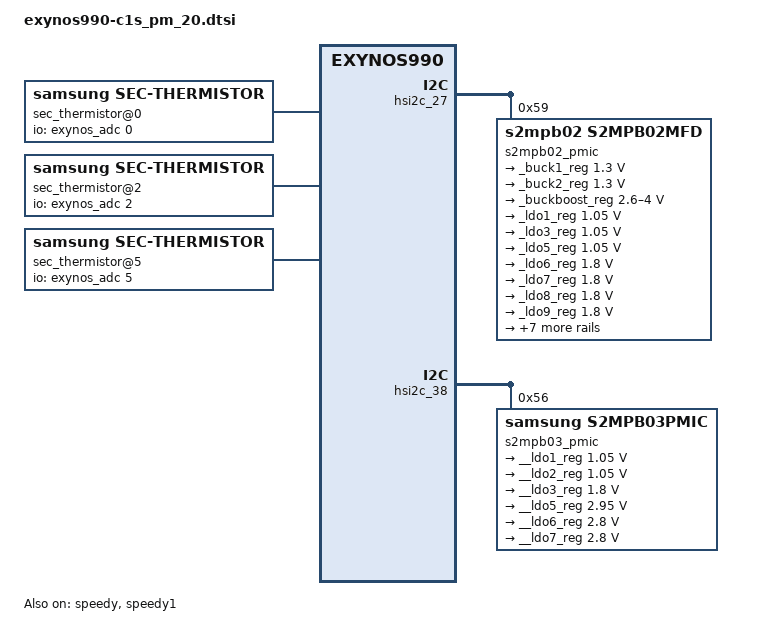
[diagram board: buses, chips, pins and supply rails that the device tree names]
/*
 * SAMSUNG EXYNOS9830 power management device tree source
 *
 * Copyright (c) 2019 Samsung Electronics Co., Ltd.
 *		http://www.samsung.com
 *
 * This program is free software; you can redistribute it and/or modify
 * it under the terms of the GNU General Public License version 2 as
 * published by the Free Software Foundation.
*/

&pinctrl_0 {
	m_pmic_irq: m-pmic-irq {
		samsung,pins = "gpa0-1";
		samsung,pin-pud = <3>;
		samsung,pin-drv = <3>;
	};

	s_pmic_irq: s-pmic-irq {
		samsung,pins = "gpa2-5";
		samsung,pin-pud = <3>;
		samsung,pin-drv = <3>;
	};

	dp_pmic_irq: dp-pmic-irq {
		samsung,pins = "gpa1-4";
		samsung,pin-function = <0>;
		samsung,pin-pud = <0>;
		samsung,pin-drv = <0>;
	};
};

&pinctrl_5 {
	sub_pmic_irq: sub-pmic-irq {
		samsung,pins = "gpg1-2";
		samsung,pin-function = <0>;
		samsung,pin-pud = <0>;
		samsung,pin-con-pdn = <2>;
		samsung,pin-pud-pdn = <0>;
	};
};

&pinctrl_4 {
	smpl_warn: smpl-warn {
		samsung,pins = "gpg0-1";
		samsung,pin-function = <15>;
		samsung,pin-pud = <0>;
		samsung,pin-drv = <0>;
		samsung,pin-con-pdn = <2>;
		samsung,pin-pud-pdn = <0>;
	};
};

&speedy {
	#address-cells = <1>;
	#size-cells = <0>;
	status = "okay";
	s2mps19mfd@00 {
		compatible = "samsung,s2mps19mfd";
		acpm-ipc-channel = <2>;
		acpm-speedy-channel = <0>;
		i2c-speedy-address;
		s2mps19,wakeup = "enabled";
		s2mps19,irq-gpio = <&gpa0 1 0>;
		reg = <0x00>;
		interrupts = <1 0 0>;
		interrupt-parent = <&gpa0>;
		pinctrl-names = "default";
		pinctrl-0 = <&m_pmic_irq &smpl_warn>;
		gpios = <&gpg0 1 0>;
		smpl_warn_en = <1>; /* 1 : enable , 0 : disable */
		/* range of smpl_warn_vth */
		/* 0x00 : 2.1V, 0x20 : 2.3V, 0x40 : 2.5V, 0x60 : 2.7V 0x80 : 2.9V */
		/* 0xA0 : 3.1V, 0xC0 : 3.3V, 0xE0 : 3.5V */
		smpl_warn_vth = <0xA0>;
		/* LowBat_Hys[4:3] 00(100mV), 01(200mV), 10(300mV), 11(400mV) */
		smpl_warn_hys = <0x00>;
		ocp_warn1_en = <1>; /* 1 : enable, 0 : disable */
		ocp_warn1_cnt = <0>; /* ocp warn reset timing control, 0 : 2 clock, 1 : 32 clock */
		ocp_warn1_dvs_mask = <0>; /* ocp warn mask when dvs, 0 : not masked, 1 : masked  */
		ocp_warn1_lv = <0x0>; /* step : -250mA */
		ocp_warn2_en = <0>; /* 1 : enable, 0 : disable */
		ocp_warn2_cnt = <0>; /* ocp warn reset timing control, 0 : 2 clock, 1 : 32 clock */
		ocp_warn2_dvs_mask = <0>; /* ocp warn mask when dvs, 0 : not masked, 1 : masked  */
		ocp_warn2_lv = <0x0>; /* step : -250mA */
		adc_mode = <1>; /* 0 : disable, 1 : current meter, 2 : power meter */
		adc_sync_mode = <2>; /* 1 : sync mode, 2 : async mode */
		/* RTC: wtsr/smpl */
		wtsr_en = "enabled"; /* enable */
		smpl_en = "enabled"; /* enable */
		wtsr_timer_val = <3>;	/* 1000ms */
		smpl_timer_val = <2>;	/* 300ms */
		sub_smpl_en = "enabled"; /* enable */
		check_jigon = <0>; /* do not check jigon */
		/* RTC: If it's first boot, reset rtc to 1/1/2020 12:00:00(Wed) */
		init_time,sec = <0>;
		init_time,min = <0>;
		init_time,hour = <12>;
		init_time,mday = <1>;
		init_time,mon = <0>;
		init_time,year = <120>;
		init_time,wday = <3>;

		regulators {
			buck1_reg: BUCK1M {
				regulator-name = "m_vdd_buck1";
				regulator-min-microvolt = <450000>;
				regulator-max-microvolt = <1100000>;
				regulator-always-on;
				regulator-ramp-delay = <6000>;
				regulator-initial-mode = <2>;
			};

			buck2_reg: BUCK2M {
				regulator-name = "m_vdd_buck2";
				regulator-min-microvolt = <450000>;
				regulator-max-microvolt = <1300000>;
				regulator-always-on;
				regulator-ramp-delay = <6000>;
				regulator-initial-mode = <2>;
			};

			buck3_reg: BUCK3M {
				regulator-name = "m_vdd_buck3";
				regulator-min-microvolt = <450000>;
				regulator-max-microvolt = <1300000>;
				regulator-always-on;
				regulator-ramp-delay = <6000>;
				regulator-initial-mode = <2>;
			};

			buck5_reg: BUCK5M {
				regulator-name = "m_vdd_buck5";
				regulator-min-microvolt = <450000>;
				regulator-max-microvolt = <1100000>;
				regulator-always-on;
				regulator-ramp-delay = <6000>;
				regulator-initial-mode = <2>;
			};

			buck6_reg: BUCK6M {
				regulator-name = "m_vdd_buck6";
				regulator-min-microvolt = <450000>;
				regulator-max-microvolt = <1100000>;
				regulator-always-on;
				regulator-ramp-delay = <6000>;
				regulator-initial-mode = <1>;
			};

			buck7_reg: BUCK7M {
				regulator-name = "m_vdd_buck7";
				regulator-min-microvolt = <450000>;
				regulator-max-microvolt = <1300000>;
				regulator-always-on;
				regulator-ramp-delay = <6000>;
				regulator-initial-mode = <2>;
			};

			buck8_reg: BUCK8M {
				regulator-name = "m_vdd_buck8";
				regulator-min-microvolt = <450000>;
				regulator-max-microvolt = <950000>;
				regulator-always-on;
				regulator-ramp-delay = <6000>;
				regulator-initial-mode = <2>;
			};

			buck9_reg: BUCK9M {
				regulator-name = "m_vdd_buck9";
				regulator-min-microvolt = <800000>;
				regulator-max-microvolt = <1300000>;
				regulator-always-on;
				regulator-ramp-delay = <6000>;
				regulator-initial-mode = <3>;
			};

			buck10_reg: BUCK10M {
				regulator-name = "m_vdd_buck10";
				regulator-min-microvolt = <800000>;
				regulator-max-microvolt = <1300000>;
				regulator-always-on;
				regulator-ramp-delay = <6000>;
				regulator-initial-mode = <3>;
			};

			buck11_reg: BUCK11M {
				regulator-name = "m_vdd_buck11";
				regulator-min-microvolt = <1100000>;
				regulator-max-microvolt = <1500000>;
				regulator-always-on;
				regulator-ramp-delay = <6000>;
				regulator-initial-mode = <3>;
			};

			buck12_reg: BUCK12M {
				regulator-name = "m_vdd_buck12";
				regulator-min-microvolt = <1750000>;
				regulator-max-microvolt = <2150000>;
				regulator-always-on;
				regulator-ramp-delay = <6000>;
				regulator-initial-mode = <3>;
			};

			ldo1_reg: LDO1M {
				regulator-name = "m_vdd_ldo1";
				regulator-min-microvolt = <700000>;
				regulator-max-microvolt = <950000>;
				regulator-always-on;
				regulator-ramp-delay = <12000>;
				regulator-initial-mode = <3>;
			};

			ldo3_reg: LDO3M {
				regulator-name = "m_vdd_ldo3";
				regulator-min-microvolt = <700000>;
				regulator-max-microvolt = <1100000>;
				regulator-always-on;
				regulator-ramp-delay = <12000>;
				regulator-initial-mode = <1>;
			};

			ldo4_reg: LDO4M {
				regulator-name = "m_vdd_ldo4";
				regulator-min-microvolt = <1600000>;
				regulator-max-microvolt = <1950000>;
				regulator-always-on;
				regulator-ramp-delay = <12000>;
				regulator-initial-mode = <1>;
			};

			ldo5_reg: LDO5M {
				regulator-name = "m_vdd_ldo5";
				regulator-min-microvolt = <450000>;
				regulator-max-microvolt = <1100000>;
				regulator-always-on;
				regulator-ramp-delay = <12000>;
				regulator-initial-mode = <1>;
			};

			ldo6_reg: LDO6M {
				regulator-name = "m_vdd_ldo6";
				regulator-min-microvolt = <450000>;
				regulator-max-microvolt = <950000>;
				regulator-always-on;
				regulator-ramp-delay = <12000>;
				regulator-initial-mode = <1>;
			};

			ldo9_reg: LDO9M {
				regulator-name = "m_vdd_ldo9";
				regulator-min-microvolt = <700000>;
				regulator-max-microvolt = <1300000>;
				regulator-always-on;
				regulator-ramp-delay = <12000>;
				regulator-initial-mode = <1>;
			};

			ldo10_reg: LDO10M {
				regulator-name = "m_vdd_ldo10";
				regulator-min-microvolt = <700000>;
				regulator-max-microvolt = <1100000>;
				regulator-boot-on;
				regulator-ramp-delay = <12000>;
				regulator-initial-mode = <3>;
			};

			ldo11_reg: LDO11M {
				regulator-name = "m_vdd_ldo11";
				regulator-min-microvolt = <1600000>;
				regulator-max-microvolt = <1950000>;
				regulator-boot-on;
				regulator-ramp-delay = <12000>;
				regulator-initial-mode = <3>;
			};

			ldo12_reg: LDO12M {
				regulator-name = "m_vdd_ldo12";
				regulator-min-microvolt = <1700000>;
				regulator-max-microvolt = <3350000>;
				regulator-boot-on;
				regulator-ramp-delay = <12000>;
				regulator-initial-mode = <3>;
			};

			ldo13_reg: LDO13M {
				regulator-name = "m_vdd_ldo13";
				regulator-min-microvolt = <1800000>;
				regulator-max-microvolt = <3350000>;
				regulator-boot-on;
				regulator-ramp-delay = <12000>;
				regulator-initial-mode = <3>;
			};

			ldo14_reg: LDO14M {
				regulator-name = "m_vdd_ldo14";
				regulator-min-microvolt = <1800000>;
				regulator-max-microvolt = <3350000>;
				regulator-boot-on;
				regulator-ramp-delay = <12000>;
				regulator-initial-mode = <3>;
			};

			ldo16_reg: LDO16M {
				regulator-name = "m_vdd_ldo16";
				regulator-min-microvolt = <2500000>;
				regulator-max-microvolt = <3300000>;
				regulator-always-on;
				regulator-ramp-delay = <12000>;
				regulator-initial-mode = <3>;
			};

			ldo17_reg: dp_buck: LDO17M {
				regulator-name = "VDD_DDR_1P6";
				regulator-min-microvolt = <1600000>;
				regulator-max-microvolt = <1600000>;
				regulator-boot-on;
				regulator-ramp-delay = <12000>;
				regulator-initial-mode = <3>;
			};

			ldo18_reg: LDO18M {
				regulator-name = "m_vdd_ldo18";
				regulator-min-microvolt = <700000>;
				regulator-max-microvolt = <1300000>;
				regulator-ramp-delay = <12000>;
				regulator-initial-mode = <2>;
			};

			ldo19_reg: LDO19M {
				regulator-name = "VDD_BTP_1P8";
				regulator-min-microvolt = <1800000>;
				regulator-max-microvolt = <1800000>;
				regulator-ramp-delay = <12000>;
				regulator-initial-mode = <2>;
			};
			
			ldo20_reg: dp_ldo4: LDO20M {
				regulator-name = "VDD_DDI_3P0";
				regulator-min-microvolt = <3000000>;
				regulator-max-microvolt = <3000000>;
				regulator-boot-on;
				regulator-ramp-delay = <12000>;
				regulator-initial-mode = <3>;
			};

			ldo21_reg: LDO21M {
				regulator-name = "vdd_mcu_1p8";
				regulator-min-microvolt = <1800000>;
				regulator-max-microvolt = <1800000>;
				regulator-ramp-delay = <12000>;
				regulator-initial-mode = <3>;
			};

			ldo22_reg: LDO22M {
				regulator-name = "VDD_NFC_1P8";
				regulator-min-microvolt = <1800000>;
				regulator-max-microvolt = <1800000>;
				regulator-ramp-delay = <12000>;
				regulator-initial-mode = <3>;
			};

			ldo24_reg: LDO24M {
				regulator-name = "VDD_GRIP_3P3";
				regulator-min-microvolt = <3300000>;
				regulator-max-microvolt = <3300000>;
				regulator-ramp-delay = <12000>;
				regulator-always-on;
				regulator-initial-mode = <3>;
				regulator-boot-on;
			};

			ldo25_reg: LDO25M {
				regulator-name = "tsp_io";
				regulator-min-microvolt = <1800000>;
				regulator-max-microvolt = <1800000>;
				regulator-ramp-delay = <12000>;
				regulator-initial-mode = <3>;
			};

			ldo26_reg: LDO26M {
				regulator-name = "VDD_FLICKER_1P8";
				regulator-min-microvolt = <1800000>;
				regulator-max-microvolt = <1800000>;
				regulator-ramp-delay = <12000>;
				regulator-initial-mode = <3>;
			};

			ldo28_reg: LDO28M {
				regulator-name = "m_vdd_ldo28";
				regulator-min-microvolt = <1800000>;
				regulator-max-microvolt = <1800000>;
				regulator-ramp-delay = <12000>;
				regulator-initial-mode = <3>;
			};

			ldo29_reg: LDO29M {
				regulator-name = "tsp_avdd";
				regulator-min-microvolt = <3000000>;
				regulator-max-microvolt = <3000000>;
				regulator-ramp-delay = <12000>;
				regulator-initial-mode = <3>;
			};
		};
	};
};

&speedy1 {
	#address-cells = <1>;
	#size-cells = <0>;
	status = "okay";
	s2mps22mfd@00 {
		compatible = "samsung,s2mps22mfd";
		acpm-ipc-channel = <2>;
		acpm-speedy-channel = <1>;
		i2c-speedy-address;
		s2mps22,wakeup = "enabled";
		s2mps22,irq-gpio = <&gpa2 5 0>;
		reg = <0x00>;
		interrupts = <1 0 0>;
		interrupt-parent = <&gpa2>;
		pinctrl-names = "default";
		pinctrl-0 = <&s_pmic_irq>;
		adc_mode = <1>; /* 0 : disable, 1 : current meter, 2 : power meter */
		adc_sync_mode = <2>; /* 1 : sync mode, 2 : async mode */
		wtsr_en = <1>; /* 0 : disable, 1 : enable */

		regulators {
			s_buck1_reg: BUCK1S {
				regulator-name = "s_vdd_buck1";
				regulator-min-microvolt = <450000>;
				regulator-max-microvolt = <950000>;
				regulator-always-on;
				regulator-ramp-delay = <6000>;
				regulator-initial-mode = <1>;
			};

			s_buck2_reg: BUCK2S {
				regulator-name = "s_vdd_buck2";
				regulator-min-microvolt = <450000>;
				regulator-max-microvolt = <1100000>;
				regulator-always-on;
				regulator-ramp-delay = <6000>;
				regulator-initial-mode = <1>;
			};

			s_buck3_reg: BUCK3S {
				regulator-name = "s_vdd_buck3";
				regulator-min-microvolt = <450000>;
				regulator-max-microvolt = <1300000>;
				regulator-always-on;
				regulator-ramp-delay = <6000>;
				regulator-initial-mode = <1>;
			};

			s_buck4_reg: BUCK4S {
				regulator-name = "s_vdd_buck4";
				regulator-min-microvolt = <900000>;
				regulator-max-microvolt = <1300000>;
				regulator-always-on;
				regulator-ramp-delay = <6000>;
				regulator-initial-mode = <3>;
			};

			s_ldo1_reg: LDO1S {
				regulator-name = "s_vdd_ldo1";
				regulator-min-microvolt = <450000>;
				regulator-max-microvolt = <950000>;
				regulator-always-on;
				regulator-ramp-delay = <12000>;
				regulator-initial-mode = <1>;
			};

			s_ldo2_reg: LDO2S {
				regulator-name = "s_vdd_ldo2";
				regulator-min-microvolt = <450000>;
				regulator-max-microvolt = <950000>;
				regulator-always-on;
				regulator-ramp-delay = <12000>;
				regulator-initial-mode = <1>;
			};

			s_ldo3_reg: LDO3S {
				regulator-name = "s_vdd_ldo3";
				regulator-min-microvolt = <450000>;
				regulator-max-microvolt = <1300000>;
				regulator-always-on;
				regulator-ramp-delay = <12000>;
				regulator-initial-mode = <1>;
			};

			s_ldo4_reg: LDO4S {
				regulator-name = "s_vdd_ldo4";
				regulator-min-microvolt = <1600000>;
				regulator-max-microvolt = <1950000>;
				regulator-always-on;
				regulator-ramp-delay = <12000>;
				regulator-initial-mode = <3>;
			};

			s_ldo5_reg: LDO5S {
				regulator-name = "VDD_MIPI_CSI_0P85_AP";
				regulator-min-microvolt = <850000>;
				regulator-max-microvolt = <850000>;
				regulator-ramp-delay = <12000>;
				regulator-initial-mode = <1>;
			};

			s_ldo6_reg: LDO6S {
				regulator-name = "VDD_MIPI_CSI_1P8_AP";
				regulator-min-microvolt = <1800000>;
				regulator-max-microvolt = <1800000>;
				regulator-ramp-delay = <12000>;
				regulator-initial-mode = <1>;
			};
		};
	};
};

&hsi2c_27 {
	#address-cells = <1>;
	#size-cells = <0>;
	status = "okay";
	s2mpb02_pmic@59 {
		compatible = "s2mpb02,s2mpb02mfd";
		reg = <0x59>;

		s2mpb02,wakeup;
		pinctrl-names = "default";
		pinctrl-0 = <&sub_pmic_irq>;

		regulators {
			_buck1_reg: s2mpb02-buck1 {
				regulator-name = "S2MPB02_BUCK1";
				regulator-min-microvolt = <1300000>;
				regulator-max-microvolt = <1300000>;
			};

			_buck2_reg: s2mpb02-buck2 {
				regulator-name = "S2MPB02_BUCK2";
				regulator-min-microvolt = <1300000>;
				regulator-max-microvolt = <1300000>;
			};

			_buckboost_reg: s2mpb02-bb {
				regulator-name = "S2MPB02_BB";
				regulator-min-microvolt = <2600000>;
				regulator-max-microvolt = <4000000>;
				regulator-always-on;
				regulator-boot-on;
			};

			_ldo1_reg: s2mpb02-ldo1 {
				regulator-name = "VDDPHY_1.05V_CAM";
				regulator-min-microvolt = <1050000>;
				regulator-max-microvolt = <1050000>;
			};

			_ldo3_reg: s2mpb02-ldo3 {
				regulator-name = "VDDD_1.05V_WIDESUB";
				regulator-min-microvolt = <1050000>;
				regulator-max-microvolt = <1050000>;
			};

			_ldo5_reg: s2mpb02-ldo5 {
				regulator-name = "VDDD_1.05V_VT";
				regulator-min-microvolt = <1050000>;
				regulator-max-microvolt = <1050000>;
			};

			_ldo6_reg: s2mpb02-ldo6 {
				regulator-name = "VDDIO_1.8V_VT";
				regulator-min-microvolt = <1800000>;
				regulator-max-microvolt = <1800000>;
			};

			_ldo7_reg: s2mpb02-ldo7 {
				regulator-name = "VDDIO_1.8V_SUB";
				regulator-min-microvolt = <1800000>;
				regulator-max-microvolt = <1800000>;
			};

			_ldo8_reg: s2mpb02-ldo8 {
				regulator-name = "VDDIO_1.8V_WIDESUB";
				regulator-min-microvolt = <1800000>;
				regulator-max-microvolt = <1800000>;
			};

			_ldo9_reg: dp_ldo1: s2mpb02-ldo9 {
				regulator-name = "VDD_DDI_1P8";
				regulator-min-microvolt = <1800000>;
				regulator-max-microvolt = <1800000>;
				regulator-boot-on;
			};

			_ldo10_reg: s2mpb02-ldo10 {
				regulator-name = "VDDD_1.8V_OIS";
				regulator-min-microvolt = <1800000>;
				regulator-max-microvolt = <1800000>;
			};

			_ldo12_reg: s2mpb02-ldo12 {
				regulator-name = "VDDAF_2.8V_SUB";
				regulator-min-microvolt = <2800000>;
				regulator-max-microvolt = <2800000>;
			};

			_ldo13_reg: s2mpb02-ldo13 {
				regulator-name = "VDDA_2.8V_WIDESUB";
				regulator-min-microvolt = <2800000>;
				regulator-max-microvolt = <2800000>;
			};

			_ldo14_reg: s2mpb02-ldo14 {
				regulator-name = "VDDAF_COMMON_CAM";
				regulator-min-microvolt = <2800000>;
				regulator-max-microvolt = <2800000>;
			};

			_ldo15_reg: s2mpb02-ldo15 {
				regulator-name = "VDDA_2.95V_VT";
				regulator-min-microvolt = <2950000>;
				regulator-max-microvolt = <2950000>;
			};

			_ldo16_reg: s2mpb02-ldo16 {
				regulator-name = "VDDAF_2.8V_VT";
				regulator-min-microvolt = <2800000>;
				regulator-max-microvolt = <2800000>;
			};

			_ldo18_reg: s2mpb02-ldo18 {
				regulator-name = "S2MPB02_LDO18";
				regulator-min-microvolt = <3300000>;
				regulator-max-microvolt = <3300000>;
			};
		};

		torch {
			torch1-gpio = <&gpp4 4 0x1>;
			flash1-gpio = <&gpp4 0 0x1>;

			status = "okay";

			leds1 {
				ledname = "leds-sec1";
				id = <0>;
				brightness = <0xE>; /* adaptive Nx100+50 : 1450mA */
				timeout = <0x7>; /* (N+1)x62.5 : 500ms */
				torch_table_enable = <0>;
			};

			leds2 {
				ledname = "torch-sec1";
				id = <1>;
				brightness = <0xE>; /* Nx20 = 280mA */
				timeout = <0xF>;
				torch_table_enable = <1>;
				torch_table = <3 5 5 6 6 8 8 8 10 10>;
				/* 60mA 100mA 120mA 160mA 200mA */
			};
		};
	};
};

&hsi2c_4 {
	#address-cells = <1>;
	#size-cells = <0>;
	status = "disabled";
	s2dos05_pmic@60 {
		compatible = "samsung,s2dos05pmic";
		reg = <0x60>;
		s2dos05,wakeup;
		pinctrl-names = "default";
		pinctrl-0 = <&dp_pmic_irq>;
		s2dos05,s2dos05_int = <&gpa1 4 0>;
		adc_mode = <2>; /* 0 : disable, 1 : current meter, 2 : power meter */
		adc_sync_mode = <2>; /* 1 : sync mode, 2 : async mode */
		regulators {
			dp_ldo2: s2dos05-ldo2 {
				regulator-name = "vdd3";
				regulator-min-microvolt = <1800000>;
				regulator-max-microvolt = <1800000>;
				regulator-boot-on;
			};

			dp_ldo3: s2dos05-ldo3{
				regulator-name = "vdd4";
				regulator-min-microvolt = <3000000>;
				regulator-max-microvolt = <3000000>;
				regulator-boot-on;
			};

			dp_elvss: s2dos05-elvss{
				regulator-name = "elvss";
				regulator-min-microamp = <0>;
				regulator-max-microamp = <8000>;
			};
		};
	};
};

&hsi2c_38 {
	#address-cells = <1>;
	#size-cells = <0>;
	status = "okay";
	s2mpb03_pmic@56 {
		compatible = "samsung,s2mpb03pmic";
		reg = <0x56>;

		s2mpb03,wakeup;

		regulators {
			__ldo1_reg: s2mpb03-ldo1 {
				regulator-name = "VDDD_1.05V_SUB";
				regulator-min-microvolt = <1050000>;
				regulator-max-microvolt = <1050000>;
			};

			__ldo2_reg: s2mpb03-ldo2 {
				regulator-name = "VDDD_1.05V_CAM";
				regulator-min-microvolt = <1050000>;
				regulator-max-microvolt = <1050000>;
			};

			__ldo3_reg: s2mpb03-ldo3 {
				regulator-name = "VDDIO_1.8V_CAM";
				regulator-min-microvolt = <1800000>;
				regulator-max-microvolt = <1800000>;
			};

			__ldo5_reg: s2mpb03-ldo5 {
				regulator-name = "VDDA_2.8V_CAM";
				regulator-min-microvolt = <2950000>;
				regulator-max-microvolt = <2950000>;
			};

			__ldo6_reg: s2mpb03-ldo6 {
				regulator-name = "VDDA_2.8V_SUB";
				regulator-min-microvolt = <2800000>;
				regulator-max-microvolt = <2800000>;
			};

			__ldo7_reg: s2mpb03-ldo7 {
				regulator-name = "VDD_VM_2.8V_OIS";
				regulator-min-microvolt = <2800000>;
				regulator-max-microvolt = <2800000>;
			};
		};
	};
};

/ {

	fragment@model {
		target-path = "/";
		__overlay__ {
			exynos_pm_dvs {
				compatible = "samsung,exynos-pm-dvs";
				vdd_lldo1 {
					regulator_name = "m_vdd_buck9";
					suspend_volt = <850000>;
					init_volt = <900000>;
					volt_range_step = <62500>;
				};

				vdd_lldo2 {
					regulator_name = "m_vdd_buck10";
					suspend_volt = <900000>;
					init_volt = <950000>;
					volt_range_step = <62500>;
				};

				vdd_lldo3 {
					regulator_name = "m_vdd_buck11";
					suspend_volt = <1250000>;
					init_volt = <1350000>;
					volt_range_step = <62500>;
				};
				vdd_mldo {
					regulator_name = "m_vdd_buck12";
					suspend_volt = <1850000>;
					init_volt = <2000000>;
					volt_range_step = <12500>;
				};
			};

			secgpio_dvs {
				compatible = "samsung,exynos9830-secgpio-dvs";
				status = "okay";
			};

			sec_pm_debug {
				compatible = "samsung,sec-pm-debug";
				status = "okay";
			};

			sec_thermistor@0 {
				compatible = "samsung,sec-thermistor";
				status = "okay";
				thermistor_name = "sec-ap-thermistor";
				id = <0>;

				adc_array = <253 300 354 421 497 588 695 810 958 1124
					1307 1497 1725 1954 2199 2435 2649 2901 3115 3301
					3435 3576 3684>;
				temp_array = <900 850 800 750 700 650 600 550 500 450
					  400 350 300 250 200 150 100 50 0 (-50)
					  (-100) (-150) (-200)>;

				io-channels = <&exynos_adc 0>;
				io-channel-names = "adc-ap-temp";
				io-channel-ranges;
			};

			sec_thermistor@2 {
				compatible = "samsung,sec-thermistor";
				status = "okay";
				thermistor_name = "sec-wf-thermistor";
				id = <1>;

				adc_array = <268 317 373 442 520 613 721 839 982 1145
					1327 1520 1741 1967 2200 2437 2658 2884 3082 3256
					3401 3529 3635>;
				temp_array = <900 850 800 750 700 650 600 550 500 450
					  400 350 300 250 200 150 100 50 0 (-50)
					  (-100) (-150) (-200)>;

				io-channels = <&exynos_adc 2>;
				io-channel-names = "adc-wf-temp";
				io-channel-ranges;
			};

			sec_thermistor@5 {
				compatible = "samsung,sec-thermistor";
				status = "okay";
				thermistor_name = "sec-cp-thermistor";
				id = <2>;

				adc_array = <260 307 362 429 506 599 705 822 970 1135
					1319 1511 1739 1969 2213 2451 2667 2915 3121 3303
					3458 3602 3699>;
				temp_array = <900 850 800 750 700 650 600 550 500 450
					  400 350 300 250 200 150 100 50 0 (-50)
					  (-100) (-150) (-200)>;

				io-channels = <&exynos_adc 5>;
				io-channel-names = "adc-cp-temp";
				io-channel-ranges;
			};
		}; /* end of __overlay__ */
	}; /* end of fragment */
}; /* end of root */
